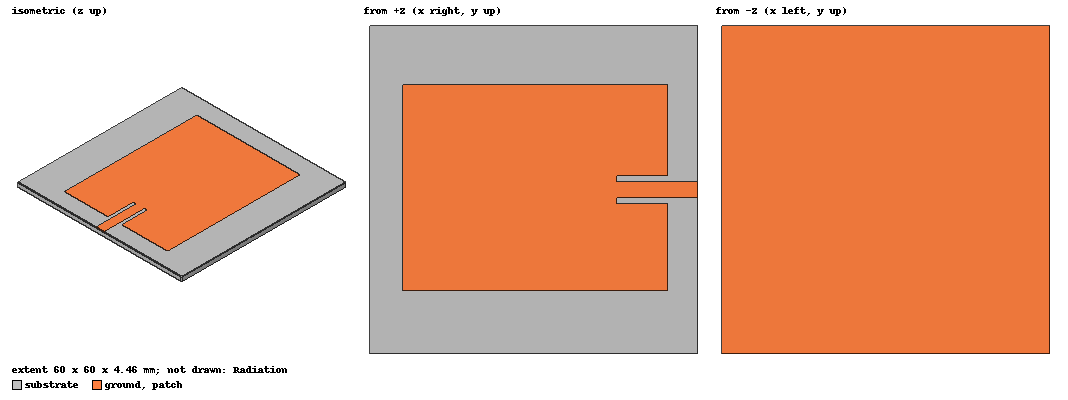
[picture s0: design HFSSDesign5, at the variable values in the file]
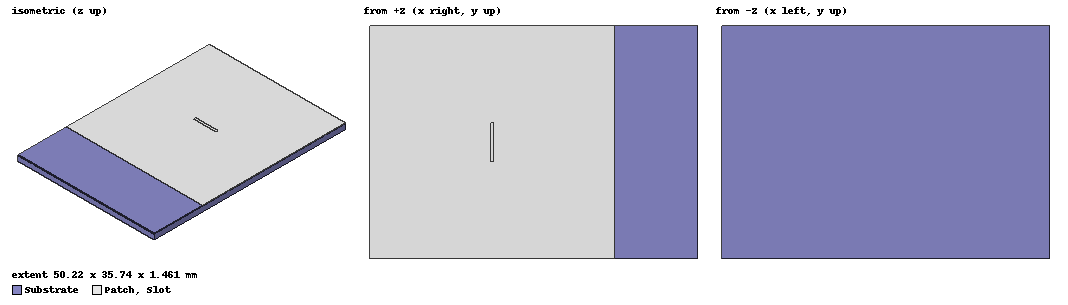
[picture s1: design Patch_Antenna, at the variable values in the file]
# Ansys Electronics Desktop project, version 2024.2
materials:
  vacuum: permittivity=1
  FR4_epoxy: permittivity=4.4 dielectric_loss_tangent=0.02
  air: permittivity=1.0006 permeability=1.0000004
  copper: permeability=0.999991 conductivity=58000000

design HFSSDesign5 (HFSS, HFSS Terminal Network, model units mm)
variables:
  width_of_patch = 48.49mm
  length_of_patch = 37.79mm
  width_of_substrate = 60mm
  length_of_substrate = 60mm
  thickness_of_substrate = 1.6mm
  length_of_slot = -10.6mm
  height_of_slot = -2.86mm
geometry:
  ground = rectangle(corner=(-30mm, -30mm, 0mm), x_size=60mm, y_size=60mm)
  substrate [FR4_epoxy] = box(corner=(-30mm, -30mm, 0mm), size=(width_of_substrate, length_of_substrate, thickness_of_substrate))
  patch = rectangle(corner=((-48/2) mm, (-37/2) mm, 1.6mm), x_size=width_of_patch, y_size=length_of_patch)
  feed = rectangle(corner=(0mm, -1.5mm, 1.6mm), x_size=30mm, y_size=3mm)
  cut = rectangle(corner=(24.7mm, -2.5mm, 1.6mm), x_size=-9.5mm, y_size=5mm)
  patch.subtract(cut)
  patch.unite(feed)
  port = rectangle(corner=(25.6mm, 1.5mm, 0mm), y_size=length_of_slot, z_size=height_of_slot)
  Radiation [air] = box(corner=(-40mm, -40mm, -20mm), size=(80mm, 80mm, 40mm))
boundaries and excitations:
  PerfE1: Perfect E Objects=[ground, patch]
  Rad1: Radiation Objects=Radiation
  1: Lumped Port Objects=port LumpedPortType=Modal Modes{Mode1{IntLine{(25.6, -3.8, -2.86) -> (25.6, -3.8, 0)} CharImp=Zpi RenormImp=50ohm}} Impedance=50ohm
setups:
  Setup1: HfssDrivenAuto AutoSolverSetting=Balanced SaveAnyFields=false Type=Interpolating
    sweep Sweep: 0GHz to 10GHz, 501 points;
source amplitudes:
  1:1: 1V 0deg

design Patch_Antenna (HFSS, HFSS Terminal Network, model units mm)
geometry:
  Substrate [FR4_epoxy] = box(corner=(0mm, 0mm, 0mm), size=(50.21732452mm, 35.7433mm, 1.46025mm))
  Patch [copper] = rectangle(corner=(0mm, 0mm, 1.46025mm), x_size=37.48759426mm, y_size=35.7433mm)
  Slot = rectangle(corner=(18.452642mm, 14.87067518mm, 1.46025mm), x_size=0.58230957mm, y_size=6.00194964mm)
  Slot_1 = Slot.copy()
  Patch.subtract(Slot_1)
  GroundPlane [copper] = box(corner=(0mm, 0mm, -0.001mm), size=(0.01mm, 0.01mm, 0.001mm))
  GroundPlane_1 [copper] = box(corner=(0mm, 0mm, -0.001mm), size=(0.01mm, 0.01mm, 0.001mm))
